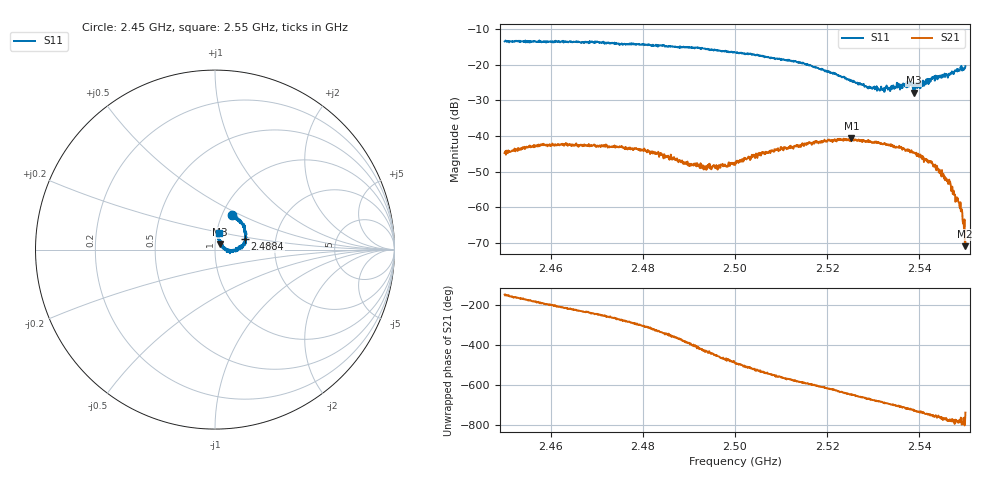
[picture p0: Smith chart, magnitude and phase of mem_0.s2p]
! NanoVNA-App
! Date: 2021-04-11 20:28:23
! Start: 2.45GHz Stop: 2.55GHz Points: 1024
! S-Parameter data: F S11 S21 S12 S22
# Hz S RI R 50
!  Frequency  S11_Real  S11_Imag  S21_Real  S21_Imag  S12_Real  S12_Imag  S22_Real  S22_Imag
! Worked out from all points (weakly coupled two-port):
!   1024 points, 2.45 GHz to 2.55 GHz, reference 50 ohm
!   highest |S21| = -40.68 dB at 2.5253 GHz (marker M1); lowest = -70.9 dB at 2.5499 GHz (marker M2)
!   lowest |S11| = -27.8 dB at 2.5388 GHz (marker M3), VSWR 1.08, Z = 52.6 + j3.22 ohm
!   |S11| at or under -10 dB: start of sweep to end of sweep
!   S12 and S22 are empty: the file has one direction only
!   S11 on the Smith chart (normalised r, x): 2.45 GHz: 1.11, +0.44; 2.4884 GHz: 1.39, +0.17; 2.55 GHz: 1.02, +0.19
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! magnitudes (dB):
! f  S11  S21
! 2.45 GHz  -13.5  -44.8
! 2.4579 GHz  -13.5  -42.3
! 2.4667 GHz  -13.9  -42.7
! 2.4752 GHz  -14.3  -43.1
! 2.4834 GHz  -14.6  -44.9
! 2.4884 GHz  -15.1  -47.0
! 2.4934 GHz  -15.5  -48.5
! 2.5 GHz  -16.6  -48.1
! 2.5056 GHz  -17.4  -45.5
! 2.5167 GHz  -20.3  -42.5
! 2.5253 GHz  -24.6  -40.7
! 2.5294 GHz  -26.3  -41.4
! 2.5334 GHz  -26.4  -42.4
! 2.5379 GHz  -25.5  -44.1
! 2.5388 GHz  -27.8  -44.6
! 2.5409 GHz  -25.8  -46.0
! 2.5427 GHz  -24.0  -47.2
! 2.5463 GHz  -23.0  -53.5
! 2.5488 GHz  -21.5  -60.3
! 2.5493 GHz  -21.6  -61.5
! 2.5499 GHz  -21.0  -70.9
! 2.55 GHz  -20.4  -69.8
